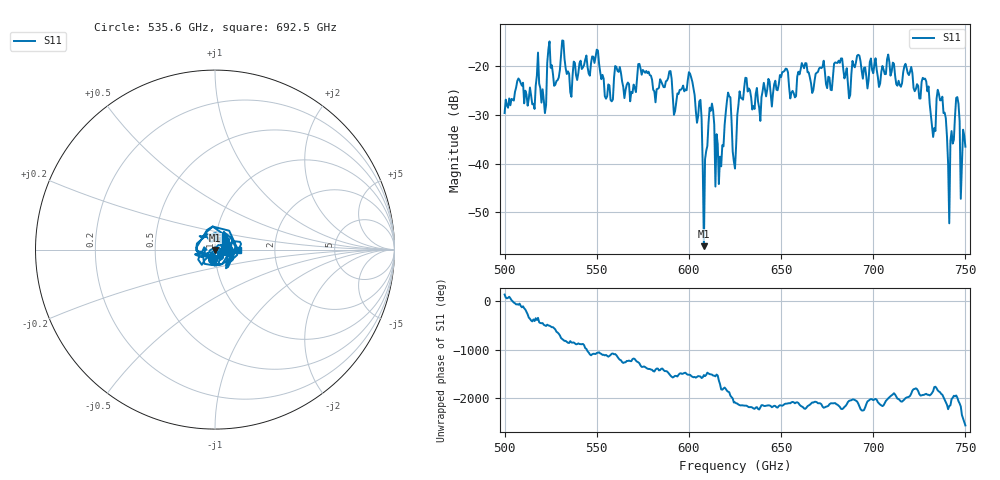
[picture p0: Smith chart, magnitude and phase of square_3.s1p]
!Created with skrf (http://scikit-rf.org).
# GHz S MA R 50.0
!freq magS11 angS11
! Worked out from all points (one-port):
!   401 points, 500 GHz to 750 GHz, reference 50 ohm
!   lowest |S11| = -57.0 dB at 608.1 GHz (marker M1), VSWR 1.00, Z = 50 - j0.14 ohm
!   |S11| at or under -10 dB: start of sweep to end of sweep
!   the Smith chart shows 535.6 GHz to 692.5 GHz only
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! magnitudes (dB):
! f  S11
! 500 GHz  -29.6
! 518.1 GHz  -17.2
! 521.2 GHz  -26.9
! 524.4 GHz  -14.9
! 528.1 GHz  -23.0
! 531.2 GHz  -14.7
! 535 GHz  -21.5
! 562.5 GHz  -20.1
! 593.8 GHz  -25.5
! 601.2 GHz  -22.3
! 605.6 GHz  -27.2
! 608.1 GHz  -57.0
! 611.9 GHz  -29.1
! 617.5 GHz  -40.5
! 621.2 GHz  -25.4
! 625 GHz  -41.0
! 631.2 GHz  -22.4
! 656.2 GHz  -25.0
! 662.5 GHz  -20.4
! 687.5 GHz  -25.9
! 718.8 GHz  -21.4
! 728.8 GHz  -23.1
! 732.5 GHz  -34.5
! 736.2 GHz  -27.0
! 741.9 GHz  -35.3
! 745.6 GHz  -26.3
! 748.8 GHz  -33.0
! 750 GHz  -36.5
